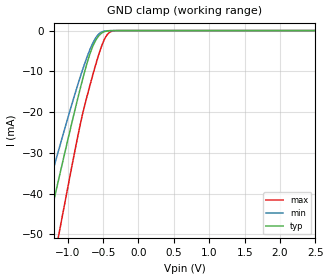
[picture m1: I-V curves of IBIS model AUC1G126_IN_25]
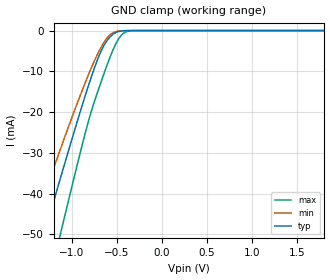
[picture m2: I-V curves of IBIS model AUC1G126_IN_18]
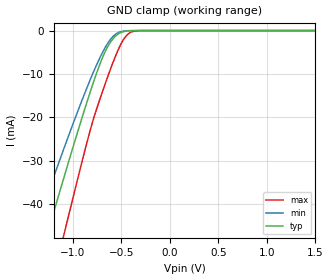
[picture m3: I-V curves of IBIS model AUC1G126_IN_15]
| TEXAS INSTRUMENTS INCORPORATED
| Standard Linear and Logic Group
| IBIS Model of SN74AUC1G126
| Single Bus Buffer Gate with 3-State Output
| This file contains package information for the following:
|  SOT 5-pin (DCK) package as [Component] AUC1G126_DCK
|  SOT 5-pin (DBV) package as [Component] AUC1G126_DBV
|  NanoStar WCSP 5-pin (YEP) package as [Component] AUC1G126_YEP
|  NanoFree WCSP 5-pin (YZP) package as [Component] AUC1G126_YZP
| This device can be powered at the following Vccs:
|  2.5 volt Vcc
|  1.8 volt Vcc
|  1.5 volt Vcc
|  1.2 volt Vcc
|  0.8 volt Vcc
| This file provides unique models under the [Model Selector] for each Vcc.
| For operation at a specific Vcc, select the appropriate model after each
| [Model Selector] keyword.
[IBIS Ver]   3.2
[Comment char]  |_char
[File Name]   sn74auc1g126.ibs
[File Rev]   1.1 | x_die
[Date]   August 4, 2003
[Source]   Data created from TI-SPICE simulations at TI-SLL.
[Notes]   The following is an IBIS list for the AUC1G126.
   Please contact sllibis@ti.com with questions and
   comments concerning SLL IBIS models.
   - The waveforms for the AUC1G126_OUT Pullup and Pulldown
   are caused by the circuitry that helps reduce overshoot
   and undershoot in transmission lines (EMI).  These
   waveforms are norimal for this particular design.
   - The SN74AUC1G126 has output feedback control circuitry.
   This will cause some non-monotonicity warnings.
   - The SN74AUC1G126 inputs has no power clamp diode.
   Therefore, the input power clamp data are not included.
   - The SN74AUC1G126 outputs has no power clamp diode.
   Therefore, the output power clamp data are not included.
[Disclaimer] Property of Texas Instruments Incorporated.  Unauthorized
                reproduction and/or distribution is strictly prohibited.
                This product is protected under copyright law.
                Created  2002, (C) Copyright  2002, Texas Instruments
                Incorporated, All Rights Reserved
                UNLESS THERE IS A SIGNED, WRITTEN AGREEMENT TO THE
                CONTRARY, TEXAS INSTRUMENTS (TI) IS PROVIDING THE IBIS
                MODELS  AND WITHOUT ANY WARRANTY, EXPRESSED OR
                IMPLIED.  TI assumes no liability for:
                 1) the accuracy of the IBIS models provided to your
                    company;
                 2) the proper functioning of these IBIS Models in your
                    design or for any resulting applications; or
                 3) infringement of patents, copyrights or intellectual
                    property rights resulting from your use of these IBIS
                    models.
                TI provides IBIS Models as a service to our customers.
                You and your company shall not distribute, sell or give
                these models to anyone else without prior written
                permission from TI.
                TI reserves the right to make changes to our products or
                to discontinue any semiconductor product or service
                without notice, and advises our customers to obtain the
                latest version of relevant information to verify, before
                placing orders, that the information being relied on is
                current.
                Please be aware that your receipt and use of the IBIS
                information provided shall serve as acceptance of these
                terms and conditions.  If you do not accept these terms,
                you should return or destroy the IBIS models and any
                other accompanying information immediately.
| Component AUC1G126_DCK 5-pin SOT
[Component]   AUC1G126_DCK
[Manufacturer]   Texas Instruments, Inc.
[Package]
|   typ   min   max
R_pkg   2.000e-02   1.700e-02   2.500e-02
L_pkg   9.980e-10   8.810e-10   1.069e-09
C_pkg   1.460e-13   1.180e-13   2.050e-13
[Pin]   signal_name   model_name   R_pin   L_pin   C_pin
1   OE   AUC1G126_OE   1.900e-02   1.069e-09   1.620e-13
2   A   AUC1G126_IN   1.800e-02   8.810e-10   1.210e-13
3   GND   GND   1.700e-02   1.031e-09   2.050e-13
4   Y   AUC1G126_OUT   2.000e-02   9.600e-10   1.240e-13
5   VCC   POWER   2.500e-02   1.049e-09   1.180e-13
| Component AUC1G126_DBV 5-pin SOT
[Component]   AUC1G126_DBV
[Manufacturer]   Texas Instruments, Inc.
[Package]
|   typ   min   max
R_pkg   2.500e-02   2.100e-02   2.900e-02
L_pkg   1.529e-09   1.312e-09   1.906e-09
C_pkg   1.560e-13   1.100e-13   2.400e-13
[Pin]   signal_name   model_name   R_pin   L_pin   C_pin
1   OE   AUC1G126_OE   2.100e-02   1.511e-09   1.440e-13
2   A   AUC1G126_IN   2.300e-02   1.312e-09   1.380e-13
3   GND   GND   2.900e-02   1.906e-09   2.400e-13
4   Y   AUC1G126_OUT   2.600e-02   1.541e-09   1.500e-13
5   VCC   POWER   2.500e-02   1.374e-09   1.100e-13
| Component AUC1G126_YEP 5-pin NanoStar WCSP
[Component]   AUC1G126_YEP
[Manufacturer]   Texas Instruments, Inc.
[Package]
|   typ   min   max
R_pkg   0.001   0.001   0.001
L_pkg   0.021nH   0.021nH   0.021nH
C_pkg   0.046pF   0.045pF   0.047pF
[Pin]   signal_name   model_name   R_pin   L_pin   C_pin
1   OE   AUC1G126_OE   0.001   0.021nH   0.046pF
2   A   AUC1G126_IN   0.001   0.021nH   0.047pF
3   GND   GND   0.001   0.021nH   0.046pF
4   Y   AUC1G126_OUT   0.001   0.021nH   0.045pF
5   VCC   POWER   0.001   0.021nH   0.045pF
| Component AUC1G126_YZP 5-pin NanoFree WCSP
[Component]   AUC1G126_YZP
[Manufacturer]   Texas Instruments, Inc.
[Package]
|   typ   min   max
R_pkg   0.001   0.001   0.001
L_pkg   0.021nH   0.021nH   0.021nH
C_pkg   0.046pF   0.045pF   0.047pF
[Pin]   signal_name   model_name   R_pin   L_pin   C_pin
1   OE   AUC1G126_OE   0.001   0.021nH   0.046pF
2   A   AUC1G126_IN   0.001   0.021nH   0.047pF
3   GND   GND   0.001   0.021nH   0.046pF
4   Y   AUC1G126_OUT   0.001   0.021nH   0.045pF
5   VCC   POWER   0.001   0.021nH   0.045pF
| Model AUC1G126_IN
[Model Selector]   AUC1G126_IN
AUC1G126_IN_25   2.5 volt Vcc
AUC1G126_IN_18   1.8 volt Vcc
AUC1G126_IN_15   1.5 volt Vcc
AUC1G126_IN_12   1.2 volt Vcc
AUC1G126_IN_08   0.8 volt Vcc
| Model AUC1G126_OE
[Model Selector]   AUC1G126_OE
AUC1G126_OE_25   2.5 volt Vcc
AUC1G126_OE_18   1.8 volt Vcc
AUC1G126_OE_15   1.5 volt Vcc
AUC1G126_OE_12   1.2 volt Vcc
AUC1G126_OE_08   0.8 volt Vcc
| Model AUC1G126_OUT
[Model Selector]   AUC1G126_OUT
AUC1G126_OUT_25   2.5 volt Vcc
AUC1G126_OUT_18   1.8 volt Vcc
AUC1G126_OUT_15   1.5 volt Vcc
AUC1G126_OUT_12   1.2 volt Vcc
AUC1G126_OUT_08   0.8 volt Vcc
| Models and submodels in the file (15): AUC1G126_IN_25 (Input), AUC1G126_IN_18 (Input), AUC1G126_IN_15 (Input), AUC1G126_IN_12 (Input), AUC1G126_IN_08 (Input), AUC1G126_OE_25 (Input), AUC1G126_OE_18 (Input), AUC1G126_OE_15 (Input), AUC1G126_OE_12 (Input), AUC1G126_OE_08 (Input), AUC1G126_OUT_25 (3-state), AUC1G126_OUT_18 (3-state), AUC1G126_OUT_15 (3-state), AUC1G126_OUT_12 (3-state), AUC1G126_OUT_08 (3-state)
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[Model]   AUC1G126_IN_25
Model_type  Input
Vinl=0.7
Vinh=1.7
| variable   typ   min   max
C_comp   2.23pF   1.83pF   2.70pF
[Temperature Range]   40   100   -40
| Ambient temperature   25   85   -40
[Voltage range]   2.5   2.3   2.7
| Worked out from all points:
|   GND clamp passes 1 mA (typ) near -0.55 V on its own axis
[GND Clamp]
| AUC1G126_IN_25
|   Voltage   I(typ)   I(min)   I(max)
-3.6V     -230.2mA   -193.8mA   -275.4mA
-1.465V   -62.46mA   -50.68mA   -81.32mA
-1.41V    -58.19mA   -47.14mA   -76.26mA
-1.3V     -49.69mA   -40.13mA   -66.14mA
-1.11V    -35.19mA   -28.25mA   -48.67mA
-845mV    -15.76mA   -12.61mA   -24.92mA
-720mV    -7.623mA   -6.181mA   -15.69mA
-625mV    -3.09mA    -2.403mA   -9.633mA
-515mV    -559.5uA   -308.9uA   -3.552mA
-430mV    -73.2uA    -35.77uA   -776.9uA
-325mV    -3.339uA   -2.035uA   -30.74uA
2.5V      313.9pA    402pA      470.4pA
[Model]   AUC1G126_IN_18
Model_type  Input
Vinl=0.5775
Vinh=1.2675
| variable   typ   min   max
C_comp   2.20pF   1.84pF   2.73pF
[Temperature Range]   40   100   -40
| Ambient temperature   25   85   -40
[Voltage range]   1.8   1.65   1.95
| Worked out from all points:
|   GND clamp passes 1 mA (typ) near -0.55 V on its own axis
[GND Clamp]
| AUC1G126_IN_18
|   Voltage   I(typ)   I(min)   I(max)
-3.6V     -230.2mA   -193.8mA   -275.4mA
-1.445V   -60.91mA   -49.39mA   -79.48mA
-1.29V    -48.93mA   -39.5mA    -65.22mA
-1.145V   -37.84mA   -30.41mA   -51.89mA
-1.1V     -34.44mA   -27.64mA   -47.76mA
-830mV    -14.72mA   -11.79mA   -23.67mA
-690mV    -5.96mA    -4.844mA   -13.74mA
-565mV    -1.381mA   -914.2uA   -6.102mA
-490mV    -326uA     -167.9uA   -2.495mA
-425mV    -63.97uA   -31.34uA   -688.8uA
-275mV    -662.6nA   -487.6nA   -4.372uA
1.8V      203.2pA    298.4pA    235.5pA
[Model]   AUC1G126_IN_15
Model_type  Input
Vinl=0.49
Vinh=1.04
| variable   typ   min   max
C_comp   2.22pF   1.84pF   2.76pF
[Temperature Range]   40   100   -40
| Ambient temperature   25   85   -40
[Voltage range]   1.5   1.4   1.6
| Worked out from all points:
|   GND clamp passes 1 mA (typ) near -0.55 V on its own axis
[GND Clamp]
| AUC1G126_IN_15
|   Voltage   I(typ)   I(min)   I(max)
-3.6V     -230.2mA   -193.8mA   -275.4mA
-1.39V    -56.64mA   -45.86mA   -74.42mA
-1.25V    -45.85mA   -36.97mA   -61.54mA
-1.095V   -34.06mA   -27.33mA   -47.3mA
-1.05V    -30.68mA   -24.59mA   -43.18mA
-810mV    -13.36mA   -10.7mA    -22.06mA
-685mV    -5.701mA   -4.633mA   -13.41mA
-565mV    -1.381mA   -914.2uA   -6.102mA
-490mV    -326uA     -167.9uA   -2.495mA
-425mV    -63.97uA   -31.34uA   -688.8uA
-280mV    -781.4nA   -563.5nA   -5.358uA
1.5V      165.9pA    259.7pA    172.1pA
